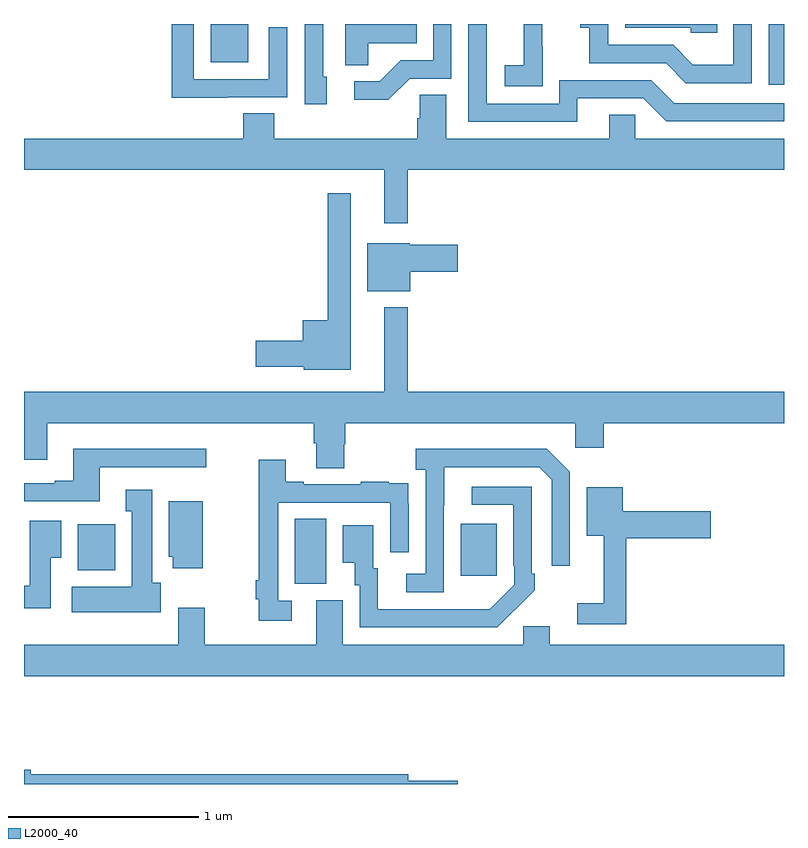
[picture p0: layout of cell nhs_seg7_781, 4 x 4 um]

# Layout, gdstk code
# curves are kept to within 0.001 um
import gdstk
lib = gdstk.Library(unit=1e-6, precision=1e-09)
def R(c, l, rs):  # rectangles x0, y0, x1, y1
    for r in rs: c.add(gdstk.rectangle(r[:2], r[2:], *l))
def P(c, l, *ps):  # polygons
    for p in ps: c.add(gdstk.Polygon(p, *l))
L2000_40 = (2000, 40)

nhs_seg7_781 = lib.new_cell('nhs_seg7_781')
R(nhs_seg7_781, L2000_40, [(170.426,1049.053,170.59,1049.396), (171.299,1049.097,171.487,1049.371), (169.283,1049.126,169.48,1049.368), (172.92,1051.68,173,1052), (169.982,1051.799,170.179,1052)])
P(nhs_seg7_781, L2000_40, [(170.811,1051.898),(171.068,1051.898),(171.068,1052),(170.69,1052),(170.69,1051.783),(170.811,1051.783)],
  [(171.03,1051.713),(171.249,1051.713),(171.249,1052),(171.153,1052),(171.153,1051.809),(170.984,1051.809),(170.873,1051.698),(170.739,1051.698),(170.739,1051.601),(170.917,1051.601)],
  [(170.069,1051.614),(170.385,1051.614),(170.385,1051.984),(170.289,1051.984),(170.289,1051.71),(169.893,1051.71),(169.893,1052),(169.777,1052),(169.777,1051.613),(170.069,1051.613)],
  [(172.649,1052),(172.164,1052),(172.164,1051.98),(172.509,1051.98),(172.509,1051.953),(172.649,1051.953)],
  [(171.729,1051.879),(171.728,1051.879),(171.728,1052),(171.629,1052),(171.629,1051.783),(171.531,1051.783),(171.531,1051.673),(171.729,1051.673)],
  [(171.913,1051.608),(172.26,1051.608),(172.38,1051.488),(173,1051.488),(173,1051.584),(172.422,1051.584),(172.302,1051.704),(171.816,1051.704),(171.816,1051.581),(171.435,1051.581),(171.435,1052),(171.339,1052),(171.339,1051.485),(171.913,1051.485)],
  [(172.83,1052),(172.734,1052),(172.734,1051.786),(172.52,1051.786),(172.416,1051.89),(172.074,1051.89),(172.074,1052),(171.927,1052),(171.927,1051.979),(171.976,1051.979),(171.976,1051.794),(172.379,1051.794),(172.484,1051.689),(172.83,1051.689)],
  [(170.593,1051.722),(170.574,1051.722),(170.574,1052),(170.478,1052),(170.478,1051.578),(170.593,1051.578)],
  [(171.019,1051.232),(173,1051.232),(173,1051.396),(172.218,1051.396),(172.218,1051.523),(172.079,1051.523),(172.079,1051.396),(171.223,1051.396),(171.223,1051.628),(171.084,1051.628),(171.084,1051.505),(171.071,1051.505),(171.071,1051.396),(170.318,1051.396),(170.318,1051.529),(170.153,1051.529),(170.153,1051.396),(169,1051.396),(169,1051.232),(170.897,1051.232),(170.897,1050.951),(171.019,1050.951)],
  [(170.719,1051.108),(170.598,1051.108),(170.598,1050.442),(170.468,1050.442),(170.468,1050.332),(170.22,1050.332),(170.22,1050.197),(170.472,1050.197),(170.472,1050.179),(170.719,1050.179)],
  [(171.034,1050.695),(171.283,1050.695),(171.283,1050.837),(171.03,1050.837),(171.03,1050.847),(170.807,1050.847),(170.807,1050.593),(171.034,1050.593)],
  [(171.019,1050.508),(170.897,1050.508),(170.897,1050.064),(169,1050.064),(169,1049.706),(169.123,1049.706),(169.123,1049.9),(170.525,1049.9),(170.525,1049.794),(170.537,1049.794),(170.537,1049.662),(170.685,1049.662),(170.685,1049.787),(170.69,1049.787),(170.69,1049.9),(171.9,1049.9),(171.9,1049.769),(172.052,1049.769),(172.052,1049.9),(173,1049.9),(173,1050.064),(171.019,1050.064)],
  [(169.399,1049.667),(169.96,1049.667),(169.96,1049.764),(169.259,1049.764),(169.259,1049.596),(169.163,1049.596),(169.163,1049.583),(169,1049.583),(169,1049.487),(169.399,1049.487)],
  [(171.21,1049.467),(171.211,1049.667),(171.711,1049.667),(171.777,1049.601),(171.777,1049.148),(171.873,1049.148),(171.873,1049.643),(171.752,1049.764),(171.063,1049.764),(171.063,1049.654),(171.114,1049.654),(171.114,1049.106),(171.012,1049.106),(171.012,1049.01),(171.21,1049.01)],
  [(170.41,1048.965),(170.337,1048.965),(170.337,1049.481),(170.928,1049.481),(170.928,1049.22),(171.024,1049.22),(171.024,1049.474),(171.023,1049.474),(171.023,1049.583),(170.921,1049.583),(170.921,1049.59),(170.773,1049.59),(170.773,1049.577),(170.473,1049.577),(170.473,1049.59),(170.377,1049.59),(170.377,1049.707),(170.236,1049.707),(170.236,1049.072),(170.221,1049.072),(170.221,1048.972),(170.236,1048.972),(170.236,1048.86),(170.41,1048.86)],
  [(171.581,1048.915),(171.582,1048.914),(171.687,1049.019),(171.687,1049.107),(171.672,1049.107),(171.672,1049.565),(171.357,1049.565),(171.357,1049.469),(171.576,1049.469),(171.576,1049.149),(171.579,1049.149),(171.579,1049.049),(171.451,1048.921),(170.863,1048.92),(170.863,1049.136),(170.839,1049.136),(170.839,1049.362),(170.678,1049.362),(170.678,1049.165),(170.741,1049.165),(170.741,1049.046),(170.766,1049.046),(170.766,1048.824),(171.49,1048.824)],
  [(172.169,1049.294),(172.615,1049.294),(172.615,1049.436),(172.15,1049.436),(172.15,1049.563),(171.962,1049.563),(171.962,1049.306),(172.052,1049.306),(172.052,1048.951),(171.912,1048.951),(171.912,1048.842),(172.169,1048.842)],
  [(169.72,1049.058),(169.675,1049.058),(169.675,1049.548),(169.535,1049.548),(169.535,1049.435),(169.568,1049.435),(169.568,1049.038),(169.251,1049.038),(169.251,1048.904),(169.72,1048.904)],
  [(169.942,1049.488),(169.763,1049.488),(169.763,1049.196),(169.784,1049.196),(169.784,1049.136),(169.942,1049.136)],
  [(169.141,1049.192),(169.195,1049.192),(169.195,1049.386),(169.031,1049.386),(169.031,1049.044),(169,1049.044),(169,1048.926),(169.141,1048.926)],
  [(173,1048.732),(171.766,1048.732),(171.766,1048.83),(171.627,1048.83),(171.627,1048.732),(170.677,1048.732),(170.677,1048.968),(170.537,1048.968),(170.537,1048.732),(169.951,1048.732),(169.951,1048.927),(169.811,1048.927),(169.811,1048.732),(169,1048.732),(169,1048.568),(173,1048.568)],
  [(171.283,1048.016),(171.022,1048.016),(171.022,1048.052),(169.036,1048.052),(169.036,1048.076),(169,1048.076),(169,1048),(171.283,1048)])

lib.write_gds('nhs_seg7_781.gds')
